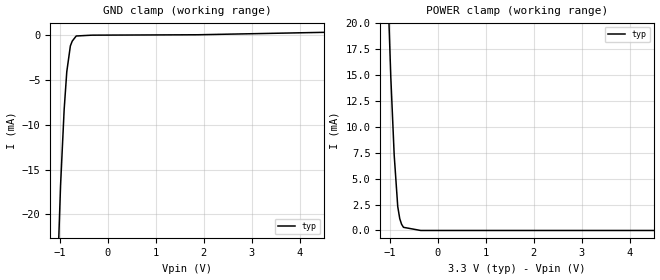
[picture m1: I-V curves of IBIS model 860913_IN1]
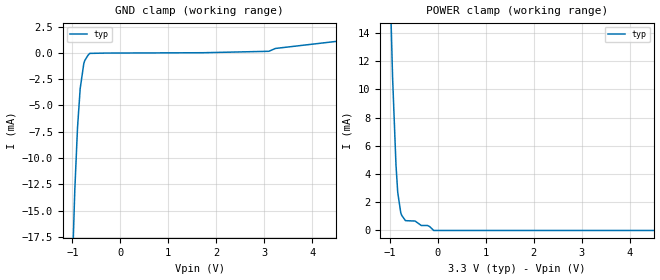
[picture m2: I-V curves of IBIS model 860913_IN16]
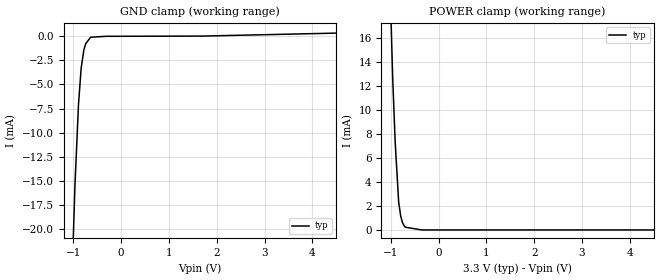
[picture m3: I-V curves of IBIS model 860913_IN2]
| COPYRIGHT(C) TERASPEED CONSULTING GROUP LLC
| 2003 ALL RIGHTS RESERVED. THIS WORK CONTAINS
| PROPRIETARY INFORMATION WHICH IS THE PROPERTY
| OF TERASPEED CONSULTING GROUP LLC OR ITS
| LICENSORS. USE OF THESE MATERIALS IS SUBJECT TO
| THE TERMS BELOW.
| USE: YOU MAY USE IBIS MODELS SOLELY FOR DEVELOPING
| PRINTED CIRCUIT BOARD DESIGNS. NO OTHER USE OR
| DISTRIBUTION OF THESE MATERIALS IS PERMITTED.
| DISCLAIMER OF WARRANTY:  UNLESS OTHERWISE AGREED
| IN WRITING, TERASPEED SOFTWARE AND ASSOCIATED
| FILES ARE PROVIDED "AS IS" AND WITHOUT WARRANTY.
| TERASPEED HAS NO OBLIGATION TO SUPPORT OR
| OTHERWISE MAINTAIN SOFTWARE.  TERASPEED MAKES
| NO WARRANTIES, EXPRESS OR IMPLIED WITH RESPECT TO
| SOFTWARE INCLUDING ANY WARRANTY OF MERCHANTABILITY
| OR FITNESS FOR A PARTICULAR PURPOSE.
| LIMITATION OF LIABILITY:  TERASPEED IS NOT LIABLE FOR
| ANY PROPERTY DAMAGE, PERSONAL INJURY, LOSS OF PROFITS,
| INTERRUPTION OF BUSINESS, OR FOR ANY OTHER SPECIAL,
| CONSEQUENTIAL OR INCIDENTAL DAMAGES, HOWEVER CAUSED,
| WHETHER FOR BREACH OF WARRANTY, CONTRACT, TORT
| (INCLUDING NEGLIGENCE), STRICT LIABILITY OR OTHERWISE.
| IN NO EVENT SHALL TERASPEED'S LIABILITY EXCEED THE AMOUNT
| PAID FOR THE PRODUCT GIVING RISE TO THE CLAIM.
| TRADEMARKS:  THE FOLLOWING ARE REGISTERED TRADEMARKS
| OR SERVICE MARKS OF TERASPEED CONSULTING GROUP LLC:
| TERASPEED CONSULTING GROUP LLC.
| ALL OTHER BRANDS AND PRODUCT NAMES ARE TRADEMARKS OF
| THEIR RESPECTIVE OWNERS.
| COPIES:  ALL COPIES OF SOFTWARE, INCLUDING BUT NOT LIMITED
| TO ANY MODIFICATIONS, ENHANCEMENTS OR DERIVATIVE WORKS
| MUST CONTAIN ALL TERASPEED'S NOTICES AND LEGENDS,
| INCLUDING THOSE EMBEDDED IN SOFTWARE AND THOSE AFFIXED
| TO THE SOFTWARE MEDIUM AND CONTAINER, AS RECEIVED FROM
| TERASPEED.
[IBIS Ver] 3.2
[File Name] mc100lvel29dw_pecl.ibs
[File Rev]  3.0
[Source] Measured and created by Teraspeed Consulting Group LLC
[Date]   09-25-2003
[Notes]  Quality Check of this IBIS model: Model Passes IBIS Check
   Model parses into ICX IS. Simulation done with Hyperlynx.
[Copyright]
| COPYRIGHT(C) TERASPEED CONSULTING GROUP LLC 2003
| ALL RIGHTS RESERVED. THIS WORK CONTAINS
| ROPRIETARY INFORMATION WHICH IS THE PROPERTY OF
| TERASPEED CONSULTING GROUP LLC OR ITS LICENSORS.
| USE OF THESE MATERIALS IS SUBJECT TO THE TERMS
| BELOW.
| USE: YOU MAY USE IBIS MODELS SOLELY FOR DEVELOPING
| PRINTED CIRCUIT BOARD DESIGNS. NO OTHER USE OR
| DISTRIBUTION OF THESE MATERIALS IS PERMITTED.
|  Teraspeed Spectrum Model Builder
[Component] MC100LVEL29DW_PECL
[Manufacturer] OnSemiconductor
[Package]
| variable   typ   min   max
R_pkg  0.178ohms  0.178ohms  0.178ohms
L_pkg  4.43nH   4.43nH   4.43nH
C_pkg  0.62pF   0.62pF   0.62pF
[Pin] signal_name  model_name  R_pin  L_pin C_pin
1   D0   860913_IN1   0.186  5.37n  0.68p
2   _D0   860913_IN2   0.182  4.89n  0.65p
3   CLK0   860913_IN3   0.178  4.42n  0.62p
4   _CLK0  860913_IN4   0.174  3.96n  0.59p
5   VBB   NC   0.17   3.51n  0.56p
6   D1   860913_IN1   0.17   3.51n  0.56p
7   _D1   860913_IN2   0.174  3.96n  0.59p
8   CLK1   860913_IN3   0.178  4.42n  0.62p
9   _CLK1  860913_IN4   0.182  4.89n  0.65p
10  R1   860913_IN20   0.186  5.37n  0.68p
11  VEE   POWER   0.186  5.37n  0.68p
12  _Q1   860913_OUT17  0.182  4.89n  0.65p
13  Q1   860913_OUT18  0.178  4.42n  0.62p
14  VCC   POWER   0.174  3.96n  0.59p
15  S1   860913_IN16   0.17   3.51n  0.56p
16  S0   860913_IN16   0.17   3.51n  0.56p
17  _Q0   860913_OUT17  0.174  3.96n  0.59p
18  Q0   860913_OUT18  0.178  4.42n  0.62p
19  VCC   POWER   0.182  4.89n  0.65p
20  R0   860913_IN20   0.186  5.37n  0.68p
[Diff Pin] inv_pin vdiff tdelay_typ tdelay_min tdelay_max
1   2   310mV  NA   NA  NA
3   4   310mV  NA   NA  NA
6   7   310mV  NA   NA  NA
8   9   310mV  NA   NA  NA
13  12  NA   0.03ns  NA  NA
18  17  NA   0.03ns  NA  NA
| Models and submodels in the file (8): 860913_IN1 (Input_ECL), 860913_IN16 (Input_ECL), 860913_IN2 (Input_ECL), 860913_IN20 (Input_ECL), 860913_IN3 (Input_ECL), 860913_IN4 (Input_ECL), 860913_OUT17 (Output_ECL), 860913_OUT18 (Output_ECL)
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[Model] 860913_IN1
Model_type Input_ECL
Vinl = 2.115V
Vinh = 2.301V
C_comp 600.0fF NA NA
| variable typ   min   max
[Voltage Range]   3.300V  NA  NA
[GND Clamp Reference]   0.000V  NA  NA
[POWER Clamp Reference]  3.300V  NA  NA
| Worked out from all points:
|   GND clamp passes 1 mA (typ) near -0.77 V on its own axis
|   POWER clamp passes 1 mA (typ) near -0.78 V on its own axis
[GND Clamp]
-3.3V     -573.3mA   NA         NA
-1.202V   -56.5mA    NA         NA
-1.069V   -29.88mA   NA         NA
-985.7mV  -16.78mA   NA         NA
-910.9mV  -8.324mA   NA         NA
-856.1mV  -4.099mA   NA         NA
-781.1mV  -1.214mA   NA         NA
-742.2mV  -681.8uA   NA         NA
-659.2mV  -109.5uA   NA         NA
-329.6mV  -17.38uA   NA         NA
1.871V    27.26uA    NA         NA
6.6V      512.2uA    NA         NA
[POWER Clamp]
-3.3V     1.036A     NA         NA
-1.036V   22.37mA    NA         NA
-981mV    14.81mA    NA         NA
-910mV    7.262mA    NA         NA
-836mV    2.301mA    NA         NA
-794mV    1.134mA    NA         NA
-756mV    597.9uA    NA         NA
-716mV    302.9uA    NA         NA
-358mV    0A         NA         NA
6.6V      0A         NA         NA
[Model] 860913_IN16
Model_type Input_ECL
Vinl = 2.115V
Vinh = 2.301V
C_comp 600.0fF NA NA
| variable typ   min   max
[Voltage Range]   3.300V  NA  NA
[GND Clamp Reference]   0.000V  NA  NA
[POWER Clamp Reference]  3.300V  NA  NA
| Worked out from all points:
|   GND clamp passes 1 mA (typ) near -0.76 V on its own axis
|   POWER clamp passes 1 mA (typ) near -0.74 V on its own axis
[GND Clamp]
-3.3V     -574.9mA   NA         NA
-1.035V   -25.56mA   NA         NA
-949.4mV  -13.06mA   NA         NA
-892.9mV  -7.127mA   NA         NA
-837.6mV  -3.418mA   NA         NA
-761.7mV  -1.005mA   NA         NA
-742.3mV  -738.1uA   NA         NA
-639.5mV  -51.81uA   NA         NA
1.728V    11.99uA    NA         NA
3.095V    147.3uA    NA         NA
3.232V    417.8uA    NA         NA
6.6V      2.2mA      NA         NA
[POWER Clamp]
-3.3V     3.905A     NA         NA
-1.036V   22.56mA    NA         NA
-944mV    10.89mA    NA         NA
-873mV    4.666mA    NA         NA
-836mV    2.692mA    NA         NA
-773mV    1.256mA    NA         NA
-675mV    696uA      NA         NA
-474mV    668.4uA    NA         NA
-345mV    352.9uA    NA         NA
-172mV    280.2uA    NA         NA
-86mV     0A         NA         NA
6.6V      0A         NA         NA
[Model] 860913_IN2
Model_type Input_ECL
Vinl = 2.115V
Vinh = 2.301V
C_comp 600.0fF NA NA
| variable typ   min   max
[Voltage Range]   3.300V  NA  NA
[GND Clamp Reference]   0.000V  NA  NA
[POWER Clamp Reference]  3.300V  NA  NA
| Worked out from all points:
|   GND clamp passes 1 mA (typ) near -0.75 V on its own axis
|   POWER clamp passes 1 mA (typ) near -0.78 V on its own axis
[GND Clamp]
-3.3V     -576.6mA   NA         NA
-1.128V   -53.12mA   NA         NA
-1.035V   -26.01mA   NA         NA
-967mV    -15.44mA   NA         NA
-893.2mV  -7.086mA   NA         NA
-837.8mV  -3.339mA   NA         NA
-781.2mV  -1.438mA   NA         NA
-742.2mV  -791.8uA   NA         NA
-639.6mV  -119.7uA   NA         NA
-319.8mV  -23.73uA   NA         NA
1.689V    -439.5nA   NA         NA
6.6V      536.6uA    NA         NA
[POWER Clamp]
-3.3V     1.317A     NA         NA
-1.019V   20.57mA    NA         NA
-963mV    12.72mA    NA         NA
-910mV    7.289mA    NA         NA
-837mV    2.323mA    NA         NA
-794mV    1.141mA    NA         NA
-756mV    597.3uA    NA         NA
-696mV    226.6uA    NA         NA
-348mV    0A         NA         NA
6.6V      0A         NA         NA
